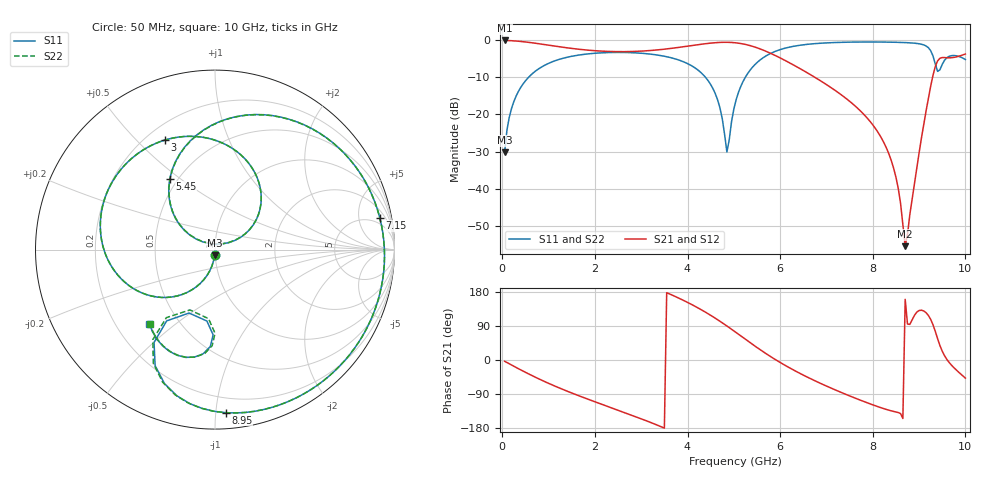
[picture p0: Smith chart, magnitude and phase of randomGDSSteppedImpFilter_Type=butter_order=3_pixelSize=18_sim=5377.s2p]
! freq	dB(S11)	phase(S11)	dB(S12)	phase(S12)
!  dB(S21)	phase(S21)	dB(S22)	phase(S22)
!S-par simulation data
#  GHz  S  DB  R 50
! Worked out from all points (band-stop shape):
!   200 points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, 50 MHz to 10 GHz, reference 50 ohm
!   highest |S21| = -0.01 dB at 50 MHz (marker M1); lowest = -55.6 dB at 8.7 GHz (marker M2)
!   |S21| within 3 dB of the highest: start of sweep to 2.391 GHz; 2.747 GHz to 5.709 GHz (2.962 GHz wide, 70.1 % of centre)
!   lowest |S11| = -30.2 dB at 50 MHz (marker M3), VSWR 1.06, Z = 49.7 - j3.06 ohm
!   |S11| at or under -10 dB: start of sweep to 564.6 MHz; 4.39 GHz to 5.246 GHz (856.2 MHz wide, 17.8 % of centre)
!   |S22| runs from -30.2 to -0.4 dB; largest |S21 - S12| = 0
!   S11 on the Smith chart (normalised r, x): 50 MHz: 0.99, -0.06; 3 GHz: 0.27, +0.61; 5.45 GHz: 0.45, +0.46; 7.15 GHz: 3.29, +9.30; 8.95 GHz: 0.10, -1.06; 10 GHz: 0.34, -0.41
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0.05  -30.22 -93.5  -0.01 -3.4  -0.01 -3.4  -30.22 -93.5
0.2  -18.35 -103.7  -0.08 -13.3  -0.08 -13.3  -18.35 -103.7
0.5  -10.91 -123.1  -0.41 -32.5  -0.41 -32.5  -10.91 -123.1
1.75  -3.78 170.6  -2.51 -98.8  -2.51 -98.8  -3.78 170.6
3  -3.46 114.7  -2.89 -155.1  -2.89 -155.1  -3.46 114.7
3.4  -4.04 95.6  -2.50 -174.6  -2.50 -174.6  -4.04 95.6
4.45  -10.96 35.8  -0.79 121.7  -0.79 121.7  -10.96 35.9
4.7  -18.22 24.8  -0.54 102.2  -0.54 102.2  -18.20 25.2
4.85  -30.11 77.3  -0.50 89.7  -0.50 89.7  -29.80 77.6
5.05  -15.99 150.1  -0.66 72.4  -0.66 72.4  -15.98 149.6
5.45  -6.60 122.6  -1.77 37.2  -1.77 37.2  -6.60 122.3
6.05  -2.29 77.2  -5.04 -10.1  -5.04 -10.1  -2.29 77.0
6.7  -0.92 36.0  -9.59 -51.9  -9.59 -51.9  -0.92 35.8
7.15  -0.58 10.9  -13.18 -76.8  -13.18 -76.8  -0.58 10.7
8.35  -0.46 -50.5  -30.71 -132.6  -30.71 -132.6  -0.47 -50.8
8.55  -0.52 -61.2  -39.95 -138.7  -39.95 -138.7  -0.52 -61.5
8.7  -0.58 -69.8  -55.56 160.0  -55.56 160.0  -0.59 -70.1
8.95  -0.81 -86.2  -34.47 126.3  -34.47 126.3  -0.82 -86.7
9.25  -2.76 -117.3  -12.39 107.3  -12.39 107.3  -2.84 -118.4
9.4  -8.36 -112.3  -5.53 56.2  -5.53 56.2  -8.78 -112.5
9.55  -5.34 -92.8  -4.64 11.2  -4.64 11.2  -5.43 -91.7
10  -5.17 -131.5  -3.67 -47.9  -3.67 -47.9  -5.17 -131.1
